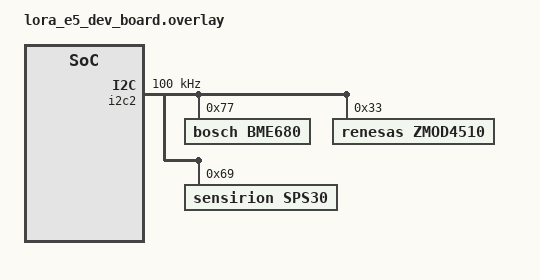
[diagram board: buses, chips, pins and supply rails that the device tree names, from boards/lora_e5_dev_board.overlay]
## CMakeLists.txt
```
# SPDX-License-Identifier: Apache-2.0

cmake_minimum_required(VERSION 3.20.0)

find_package(Zephyr REQUIRED HINTS $ENV{ZEPHYR_BASE})
project(aether)

FILE(GLOB app_sources src/main.c src/pm.c)
FILE(GLOB io_sources src/io/*.c)
target_sources(app PRIVATE ${app_sources})
target_sources_ifdef(CONFIG_SENSOR app PRIVATE src/pm_sensor_thread.c src/sensor_thread.c)
target_sources_ifdef(CONFIG_SHELL app PRIVATE src/usb.c)
target_sources_ifdef(CONFIG_LORAWAN app PRIVATE src/lora.c)

add_definitions(
  -DENABLE_ZMOD, 
  -DENABLE_BME,
  -DENABLE_PM,
  -DENABLE_USB,
  -DUSE_ABP
  -DBME_REAL_DATA
  -DZMOD_REAL_DATA
  -DSPS_REAL_DATA
  -DLORA_REAL_DATA
)
```

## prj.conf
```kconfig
# General
CONFIG_MAIN_STACK_SIZE=2048
CONFIG_SYSTEM_WORKQUEUE_STACK_SIZE=2048
CONFIG_NEWLIB_LIBC=y
CONFIG_NEWLIB_LIBC_FLOAT_PRINTF=y
CONFIG_CBPRINTF_FP_SUPPORT=y

# IO
CONFIG_I2C=y
CONFIG_SPI=y
CONFIG_GPIO=y

# Logging
CONFIG_STDOUT_CONSOLE=y
CONFIG_LOG=y
CONFIG_ARCH_LOG_LEVEL_DBG=n
CONFIG_KERNEL_LOG_LEVEL_DBG=n
CONFIG_SENSOR_LOG_LEVEL_DBG=y

# Lora
CONFIG_LORA=y
CONFIG_LORA_SX12XX=y
CONFIG_LORAWAN=y
CONFIG_LORAMAC_REGION_US915=y

# Sensors
CONFIG_SENSOR=y
CONFIG_SPS30=y
CONFIG_BME680=y
CONFIG_ZMOD4510=y

# Power Management
CONFIG_PM=y
CONFIG_PM_DEVICE=y


# Shell
CONFIG_PRINTK=y
CONFIG_SHELL=y
CONFIG_GPIO_SHELL=y
CONFIG_SHELL_THREAD_PRIORITY_OVERRIDE=y
CONFIG_SHELL_THREAD_PRIORITY=2
CONFIG_THREAD_STACK_INFO=y
CONFIG_KERNEL_SHELL=y
CONFIG_BOOT_BANNER=y
CONFIG_DEVICE_SHELL=y
CONFIG_POSIX_CLOCK=y
CONFIG_DATE_SHELL=y
CONFIG_STATS=y
CONFIG_STATS_SHELL=n
CONFIG_SENSOR_SHELL=n
CONFIG_CUSTOM_SENSOR_SHELL=y
CONFIG_HWINFO_SHELL=y

# Kernel
CONFIG_THREAD_ANALYZER=n
CONFIG_THREAD_NAME=n
CONFIG_THREAD_RUNTIME_STATS=n
CONFIG_THREAD_RUNTIME_STATS_USE_TIMING_FUNCTIONS=n
CONFIG_INIT_STACKS=n
CONFIG_THREAD_MONITOR=n
CONFIG_IDLE_STACK_SIZE=1024

# Debug
CONFIG_ASSERT=y
CONFIG_ASSERT_LEVEL=2
CONFIG_ASSERT_VERBOSE=y
CONFIG_ASSERT_ON_ERRORS=y
```

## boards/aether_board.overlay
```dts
&i2c2 {
	bme680: bme680@76 {
		compatible = "bosch,bme680";
		reg = <0x76>;
		label = "BME680";
        status="okay";
	};

	zmod4510: zmod4510@33 {
		compatible = "renesas,zmod4510";
		reg = <0x33>;
		label = "ZMOD4510";
        status="okay";
	};
};
```

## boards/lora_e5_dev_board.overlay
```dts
&i2c2 {
  clock-frequency = < 0x186a0 >;
  bme680: bme680@77 {
    compatible = "bosch,bme680";
    reg = <0x77>;
    label = "BME680";
    status="okay";
  };

  zmod4510: zmod4510@33 {
    compatible = "renesas,zmod4510";
    reg = <0x33>;
    label = "ZMOD4510";
    status="okay";
  };

  sps30: sps30@69 {
    compatible = "sensirion,sps30";
    reg = <0x69>;
    label = "SPS30";
    status="okay";
  };
};

/* vim: ft=dts */
```

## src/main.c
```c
/*
 * Aether Sensor Node Firmware
 *
 * Copyright (c) 2022 Ian Wallace <ian.wallace@knights.ucf.edu>
 *            Paul Wood <>
 *
 * SPDX-License-Identifier: Apache-2.0
 */

/* Zephyr Headers */
#include <device.h>
#include <drivers/sensor.h>
#include <drivers/sensor/zmod4510.h>
#include <kernel.h>
#include <logging/log.h>
#include <lorawan/lorawan.h>
#include <zephyr.h>
#include <cayenne.h>
#include <drivers/gpio.h>
#include <pm/pm.h>
#include <pm/device.h>
#include <pm/device_runtime.h>
#include <stdio.h>
#include <stdlib.h>
#include <stdint.h>
#include "pm.h"


LOG_MODULE_REGISTER(aether);


#define BME_STACK_SIZE    1024
#define ZMOD_STACK_SIZE   1024
#define SPS_STACK_SIZE     2048
#define LORA_STACK_SIZE   2048
#define USB_STACK_SIZE    1024

#define SENSOR_THREAD_STACK_SIZE 2048
#define PM_SENSOR_THREAD_STACK_SIZE 2048

#define SENSOR_PRIORITY 5
#define PM_SENSOR_PRIORITY 5

#define BME_PRIORITY    5
#define ZMOD_PRIORITY   5
#define SPS_PRIORITY     5
#define LORA_PRIORITY   5
#define USB_PRIORITY    5


// extern void zmod_entry_point(void *_msgq, void *arg2, void *arg3);
// extern void pm_sensor_thread(void *_msgq, void *arg2, void *arg3);
// extern void bme_entry_point(void *_msgq, void *arg2, void *arg3);
extern void lora_entry_point(void *_msgq, void *arg2, void *arg3);

extern void pm_sensor_thread(void*, void*, void*);
extern void sensor_thread(void*, void*, void*);

static struct gpio_dt_spec led = GPIO_DT_SPEC_GET(DT_ALIAS(led0), gpios);

#ifdef CONFIG_PM
#define USB_DETECT_DEBOUNCE K_MSEC(10)

static struct gpio_dt_spec usb_detect = GPIO_DT_SPEC_GET(DT_NODELABEL(usb_wakeup), gpios);
static struct gpio_callback usb_detect_cb_data;
static const struct device *pwr_5v_domain = DEVICE_DT_GET(DT_NODELABEL(pwr_5v_domain));
void usb_debounce_power_set(struct k_work *work);
void usb_debounce_timer_handler(struct k_timer *timer);

K_TIMER_DEFINE(usb_debounce_timer, usb_debounce_timer_handler, NULL);
K_WORK_DEFINE(usb_debounce_work, usb_debounce_power_set);
#endif /* CONFIG_PM */


K_THREAD_DEFINE(sensor_tid, SENSOR_THREAD_STACK_SIZE,
                sensor_thread, NULL, NULL, NULL,
                SENSOR_PRIORITY, 0, 1000);

K_THREAD_DEFINE(pm_sensor_tid, PM_SENSOR_THREAD_STACK_SIZE,
                pm_sensor_thread, NULL, NULL, NULL,
                PM_SENSOR_PRIORITY, 0, 1000);

#ifdef CONFIG_LORAWAN
K_THREAD_DEFINE(lora_tid, LORA_STACK_SIZE,
                lora_entry_point, NULL, NULL, NULL,
                LORA_PRIORITY, 0, 1000);
#endif /* CONFIG_LORAWAN */


int init_status_led() {
  int ret = gpio_pin_configure_dt(&led, GPIO_DISCONNECTED);
  if (ret) {
    LOG_ERR("Error %d: failed to configure pin %d\n", ret, led.pin);
    return -EINVAL;
  }
  return 0;
}

#ifdef CONFIG_PM
static int handler_count = 0;

void usb_debounce_timer_handler(struct k_timer *timer) {
  k_work_submit(&usb_debounce_work);
}

void usb_debounce_power_set(struct k_work *work) {
  if (gpio_pin_get_dt(&usb_detect)) {
    disable_sleep();
    printk("usb inserted %d\n", pm_constraint_get(PM_STATE_SUSPEND_TO_IDLE));
  }
  else {
    enable_sleep();
    printk("usb removed %d\n", pm_constraint_get(PM_STATE_SUSPEND_TO_IDLE));
  }
}

void usb_handler(const struct device *dev, struct gpio_callback *cb, uint32_t pins) {
  handler_count++;
  k_timer_start(&usb_debounce_timer, USB_DETECT_DEBOUNCE, K_NO_WAIT);
  printk("handler_count=%d\n", handler_count);
}

int init_usb_detect() {
  int ret;

  if (!pm_device_wakeup_enable((struct device *) usb_detect.port, true)) {
    LOG_ERR("Error: failed to enabled wakeup on %s pin %d\n",
        usb_detect.port->name,
        usb_detect.pin);
    return -EINVAL;
  }

  ret = gpio_pin_configure_dt(&usb_detect, GPIO_INPUT);
  if (ret) {
    LOG_ERR("Error %d: failed to configure pin %d\n", ret, usb_detect.pin);
    return -EINVAL;
  }

  ret = gpio_pin_interrupt_configure_dt(&usb_detect, GPIO_INT_EDGE_BOTH);
  if (ret) {
    LOG_ERR("Error %d: failed to configure interupt on %s pin %d\n", 
        ret, 
        usb_detect.port->name, 
        usb_detect.pin);
    return -EINVAL;
  }

  gpio_init_callback(&usb_detect_cb_data, usb_handler, BIT(usb_detect.pin));
  gpio_add_callback(usb_detect.port, &usb_detect_cb_data);

  gpio_port_value_t portb;
  if (gpio_port_get_raw(usb_detect.port, &portb)) {
    printk("unable to read portb\n");
    return -EINVAL;
  }
  LOG_INF("port=%x\n", portb);
#ifdef CONFIG_PM
  LOG_INF("usb_detect pin=%d\n", gpio_pin_get_dt(&usb_detect));
  if (gpio_pin_get_dt(&usb_detect)) {
    LOG_INF("disabling sleep %d\n", pm_constraint_get(PM_STATE_SUSPEND_TO_IDLE));
    disable_sleep();
  }
  else {
    printk("keeping sleep on\n");
  }
#endif /* CONFIG_PM */

  return 0;
}

#endif /* CONFIG_PM */


int pre_kernel2_init(const struct device *dev) {
  ARG_UNUSED(dev);
#ifdef CONFIG_PM
  disable_sleep();
#endif /* CONFIG_PM */

  return 0;
}

SYS_INIT(pre_kernel2_init, PRE_KERNEL_2, 0);

#define PWR_5V_DOMAIN DT_NODELABEL(pwr_5v_domain);


void main() 
{
  enable_sleep();
  LOG_INF("Entering main thread. Sleep enabled? %d", pm_constraint_get(PM_STATE_SUSPEND_TO_IDLE));

  // (ノಠ益ಠ)ノ彡┻━┻
  // It causes the I2C bus to lose arbitration??????????
  if (init_status_led()) {
    LOG_ERR("Unable to initialize status led");
    return;
  }
#ifdef CONFIG_PM
  if (init_usb_detect()) {
    LOG_ERR("Unable to initialize usb detect");
    return;
  }
#endif /* CONFIG_PM */


#ifdef CONFIG_THREAD_MONITOR
#ifdef CONFIG_LORAWAN
  k_thread_name_set(lora_tid, "lora");
#endif /* CONFIG_LORAWAN */
#endif /* CONFIG_THREAD_MONITOR */
}
```

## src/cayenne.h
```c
/*
 * Aether Sensor Node Firmware
 *
 * Copyright (c) 2022 Ian Wallace <ian.wallace@knights.ucf.edu>
 *					  Paul Wood <>
 *
 * SPDX-License-Identifier: Apache-2.0
 */

/* Cayenne channel ids */
#define CAYENNE_CHANNEL_BME     0
#define CAYENNE_CHANNEL_ZMOD    1
#define CAYENNE_CHANNEL_PM      2

/* Cayenne total packet size */
#define CAYENNE_TOTAL_SIZE_BME  40 /* 4 sensor values */
#define CAYENNE_TOTAL_SIZE_ZMOD 10 /* 1 sensor value + 2 bytes */
#define CAYENNE_TOTAL_SIZE_PM   0

/* Cayenne total packet size */
#define CAYENNE_TOTAL_SIZE_TEMP_ZEPHYR        10
#define CAYENNE_TOTAL_SIZE_PRESSURE_ZEPHYR    10
#define CAYENNE_TOTAL_SIZE_HUMIDITY_ZEPHYR    10
#define CAYENNE_TOTAL_SIZE_GAS_RES_ZEPHYR     10
#define CAYENNE_TOTAL_SIZE_FAST_AQI           4
#define CAYENNE_TOTAL_SIZE_AQI                4
#define CAYENNE_TOTAL_SIZE_O3_PPB             6

/* Cayenne data types */
#define CAYENNE_TYPE_TEMP_ZEPHYR        0
#define CAYENNE_TYPE_PRESSURE_ZEPHYR    1
#define CAYENNE_TYPE_HUMIDITY_ZEPHYR    2
#define CAYENNE_TYPE_GAS_RES_ZEPHYR     3
#define CAYENNE_TYPE_FAST_AQI           4
#define CAYENNE_TYPE_AQI                5
#define CAYENNE_TYPE_O3_PPB             6

/* Cayenne data type data lengths (bytes) */
#define CAYENNE_SIZE_TEMP_ZEPHYR        8
#define CAYENNE_SIZE_PRESSURE_ZEPHYR    8
#define CAYENNE_SIZE_HUMIDITY_ZEPHYR    8
#define CAYENNE_SIZE_GAS_RES_ZEPHYR     8
#define CAYENNE_SIZE_FAST_AQI           2
#define CAYENNE_SIZE_AQI                2
#define CAYENNE_SIZE_O3_PPB             4
```

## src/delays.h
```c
#define DELAY K_MSEC(10000)
#define SLEEP K_MSEC(50000)
#define FIFO_DELAY K_MSEC(10000)
```

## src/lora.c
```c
#include <stdint.h>
#include <kernel.h>
#include <device.h>
#include <lorawan/lorawan.h>
#include <logging/log.h>
#include <stdlib.h>
#include <zephyr.h>
#include <cayenne.h>
#include "lora.h"
#include "lora.h"

LOG_MODULE_DECLARE(aether);

// Biggest reading is with float => 2 + 4 = 6 => 8 byte alignment
K_MSGQ_DEFINE(lora_msgq, sizeof(struct reading), 24, 8);


#define LORAWAN_RETRY_DELAY 3000
#define LORAWAN_FAIL_RETRY_DELAY 1000
#define NUM_RETRIES 5
#define LORAWAN_DELAY       3000
#define MSGQ_GET_TIMEOUT    K_USEC(50)
#define GROUPING_TIMEOUT    K_MSEC(1)

uint8_t dr_max_size = 11;   

struct lorawan_join_config join_cfg;



#ifdef USE_ABP

void set_join_cfg(struct lorawan_join_config *config) {
  uint32_t dev_addr = LORAWAN_DEV_ADDR;
  uint8_t dev_eui[] = LORAWAN_DEV_EUI;
  uint8_t app_eui[] = LORAWAN_APP_EUI;
  uint8_t app_skey[] = LORAWAN_APP_SKEY;
  uint8_t nwk_skey[] = LORAWAN_NWK_SKEY;

  LOG_INF("Setting activation method to ABP");
  config->mode = LORAWAN_ACT_ABP;
  config->dev_eui = dev_eui;
  config->abp.dev_addr = dev_addr;
  config->abp.app_eui = app_eui;
  config->abp.app_skey = app_skey;
  config->abp.nwk_skey = nwk_skey;
}


#else

void set_join_cfg(struct lorawan_join_config *config) {
  uint8_t dev_eui[] = LORAWAN_APP_EUI;
  uint8_t join_eui[] = LORAWAN_JOIN_EUI;
  uint8_t app_key[] = LORAWAN_APP_KEY;

  LOG_INF("Setting activation method to OTAA");
  config->mode = LORAWAN_ACT_OTAA;
  config->dev_eui = dev_eui;
  config->otaa.join_eui = join_eui;
  config->otaa.app_key = app_key;
  config->otaa.nwk_key = app_key;
}

#endif /* USE_ABP */


#ifdef LORA_REAL_DATA

int send(const struct device *lora_dev, uint8_t *buffer, int buffer_len) {
  int ret;
  //LOG_INF("sending %d bytes", buffer_len);
  //LOG_HEXDUMP_INF(buffer, buffer_len, "Lora send buffer");

  for (int i = 0; i < NUM_RETRIES; i++) {
    ret = lorawan_send(2, buffer, buffer_len, LORAWAN_MSG_CONFIRMED);
    if (ret != 0) {
      LOG_WRN("lorawan_send failed: %d. Retrying %d/%d...\n", ret, i + 1, NUM_RETRIES);
      k_msleep(LORAWAN_RETRY_DELAY);
    }
    else {
      break;
    }
  }

  if (ret < 0) {
    LOG_ERR("lorawan_send failed: %d\n", ret);
    return -EINVAL;
  }

  return 0;
}

#else

int send(const struct device *lora_dev, uint8_t *buffer, int buffer_len) {
  //LOG_INF("sending %d bytes", buffer_len);
  //LOG_HEXDUMP_INF(buffer, buffer_len, "Lora send buffer");
  return 0;
}

#endif /* LORA_REAL_DATA */


void dl_callback(uint8_t port, bool data_pending,
      int16_t rssi, int8_t snr,
      uint8_t len, const uint8_t *data)
{
  LOG_DBG("Port %d, Pending %d, RSSI %ddB, SNR %ddBm",
      port, data_pending, rssi, snr);

  if (data) {
    LOG_HEXDUMP_DBG(data, len, "Payload: ");
  }
}


void lorwan_datarate_changed(enum lorawan_datarate dr)
{
  uint8_t unused, max_size;

  lorawan_get_payload_sizes(&unused, &max_size);

  dr_max_size = max_size;
  LOG_DBG("New Datarate: DR_%d, Max Payload %d", dr, max_size);
}

struct lorawan_downlink_cb downlink_cb = {
  .port = LW_RECV_PORT_ANY,
  .cb = dl_callback
};


void lora_entry_point(void *arg1, void *arg2, void *arg3) {
  const struct device *lora_dev;
  // struct lorawan_join_config join_cfg;
  int ret = 0;

  // Lowest DR 
  //TODO: change based on DR
  uint8_t buffer[256];

  lora_dev = device_get_binding(DEFAULT_RADIO);
  if (!lora_dev) {
    printk("%s Device not found\n", DEFAULT_RADIO);
    return;
  }

  ret = lorawan_start();
  if (ret < 0) {
    printk("lorawan_start failed: %d\n", ret);
    return;
  }

  lorawan_register_downlink_callback(&downlink_cb);
  lorawan_register_dr_changed_callback(lorwan_datarate_changed);
  lorawan_enable_adr(true);
  lorawan_set_conf_msg_tries(10);
  lorawan_set_datarate(LORAWAN_DR_3);

  // join_cfg.mode = LORAWAN_ACT_ABP;
  uint32_t dev_addr = LORAWAN_DEV_ADDR;
  uint8_t dev_eui[] = LORAWAN_DEV_EUI;
  uint8_t app_eui[] = LORAWAN_APP_EUI;
  uint8_t app_skey[] = LORAWAN_APP_SKEY;
  uint8_t nwk_skey[] = LORAWAN_NWK_SKEY;
  join_cfg.mode = LORAWAN_ACT_ABP;
  join_cfg.dev_eui = dev_eui;
  join_cfg.abp.dev_addr = dev_addr;
  join_cfg.abp.app_eui = app_eui;
  join_cfg.abp.app_skey = app_skey;
  join_cfg.abp.nwk_skey = nwk_skey;

  LOG_INF("Joining lorawan network");
  ret = lorawan_join(&join_cfg);
  if (ret < 0) {
    LOG_ERR("lorawan_join_network failed: %d", ret);
    return;
  }

  // Main loop
  struct reading reading;  //unused?
  int reading_size; //unused?
  uint8_t num_bytes = 0;
  uint8_t msgs_left = 0; // unused?
  while (1) {
    num_bytes = 0;

    // Send more until the queue is empty, else wait
    if (k_msgq_num_used_get(&lora_msgq) == 0) {
      ret = k_msgq_get(&lora_msgq, (void *) &reading, K_FOREVER);
      num_bytes += cayenne_packetize(buffer, &reading);

      // Sleep to try to get readings that might've been sent around the same time to group them
      // together.
      k_msleep(1000);
    }

    while (num_bytes < dr_max_size && k_msgq_num_used_get(&lora_msgq) > 0) {
      k_msgq_peek(&lora_msgq, (void *) &reading);

      if (num_bytes + get_reading_size(&reading) <= dr_max_size) {
        k_msgq_get(&lora_msgq, (void *) &reading, K_NO_WAIT);
        num_bytes += cayenne_packetize(buffer + num_bytes, &reading);
      }
      else {
        break;
      }
    }

    ret = send(lora_dev, buffer, num_bytes);
    LOG_INF("msgq used=%d", k_msgq_num_used_get(&lora_msgq));
  }
}

int lorawan_schedule(struct reading *reading) {
  return k_msgq_put(&lora_msgq, (void *) reading, K_NO_WAIT); 
}
```

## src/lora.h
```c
#ifndef __LORAWAN_ENTRY_H__
#define __LORAWAN_ENTRY_H__

#include <kernel.h>
#include <cayenne.h>

/******************** LoRaWAN Configuration Parameters ************************/
/* Enable or disable LoRaWAN for testing purposes */
#define ENABLE_LORAWAN

/* Switch between using ABP or OTAA parameters */
#define USE_ABP

#define DEFAULT_RADIO_NODE DT_ALIAS(lora0)
BUILD_ASSERT(DT_NODE_HAS_STATUS(DEFAULT_RADIO_NODE, okay),
	     "No default LoRa radio specified in DT");
#define DEFAULT_RADIO DT_LABEL(DEFAULT_RADIO_NODE)


#ifndef USE_ABP
/* OTAA Parameters */
#define LORAWAN_APP_EUI			{ 0x2C, 0xF7, 0xF1, 0x20, 0x32, 0x30,\
					  0x4D, 0xE8 }
#define LORAWAN_JOIN_EUI		{ 0x80, 0x00, 0x00, 0x00, 0x00, 0x00,\
					  0x00, 0x06 }
#define LORAWAN_APP_KEY			{ 0xB4, 0x4E, 0x83, 0x6D, 0x99, 0x06,\
					  0x79, 0xC8, 0x78, 0x03, 0x1A, 0x32,\
					  0x60, 0x51, 0x11, 0xC8 }

#else

/* ABP Parameters */
#define LORAWAN_DEV_ADDR 0x260CFF4F;
#define LORAWAN_JOIN_EUI		{ 0x80, 0x00, 0x00, 0x00, 0x00, 0x00,\
					  0x00, 0x06 }
#define LORAWAN_DEV_EUI			{ 0x2C, 0xF7, 0xF1, 0x20, 0x32, 0x30,\
					  0x4D, 0xE8}					  
#define LORAWAN_APP_EUI			{ 0x00, 0x00, 0x00, 0x00, 0x00, 0x00,\
					  0x00, 0x00}
#define LORAWAN_APP_SKEY		{ 0x88, 0x03, 0x0F, 0x9D, 0x09, 0x0D,\
					  0x09, 0xC0, 0x44, 0x63, 0x20, 0x4F, 0xC0, 0xE8,\
					  0x2C, 0xF5}
#define LORAWAN_NWK_SKEY		{ 0x06, 0xB1, 0x13, 0xEE, 0x65, 0x09,\
					  0xAA, 0xFB, 0x91, 0x75, 0xC2, 0x6E, 0xF2, 0x67,\
					  0x91, 0x92}
#endif

int lorawan_schedule(struct reading *reading);

#endif /* __LORAWAN_ENTRY_H__ */
```

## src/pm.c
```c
#include <pm/pm.h>

// pm_constraint_get confusingly checks if the power state is enabled, not if there's a constrain on
// the power state.
void disable_sleep() {
  pm_constraint_set(PM_STATE_SUSPEND_TO_IDLE);
  // pm_constraint_set(PM_STATE_SOFT_OFF);
}

void enable_sleep() {
  pm_constraint_release(PM_STATE_SUSPEND_TO_IDLE);
  // pm_constraint_release(PM_STATE_SOFT_OFF);
}
```

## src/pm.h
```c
#ifndef __PM_H__
#define __PM_H__

void enable_sleep();
void disable_sleep();

#endif /* __PM_H__ */
```

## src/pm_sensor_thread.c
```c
#include <kernel.h>
#include <device.h>
#include <drivers/sensor.h>
#include <logging/log.h>
#include <zephyr.h>
#include <stdlib.h>
#include <cayenne.h>
#include <pm/device.h>
#include <pm/device_runtime.h>
#include <drivers/gpio.h>
#include "pm.h"
#include "lora.h"
#include <drivers/sensor/sps30.h>

LOG_MODULE_REGISTER(pm_sensor_thread, CONFIG_LOG_DEFAULT_LEVEL);

// #define SPS_SLEEP 900000
#define SPS_SLEEP (60000 * 15)
#define NUM_READINGS 10
#define SPS_READING_DELAY_MS 5000
#define NUM_SKIP_READINGS 10

// #define PWR_5V_DOMAIN DT_NODELABEL(pwr_5v_domain)

// static const struct device *pwr_5v_domain = DEVICE_DT_GET(DT_NODELABEL(pwr_5v_domain));
const struct device *dev_sps = DEVICE_DT_GET(DT_NODELABEL(sps30));

void pm_sensor_thread(void *arg1, void *arg2, void *arg3) {
  struct sensor_value pm1p0, pm2p5, pm10p0;
  struct reading reading;
  float pm2_5_sum = 0, pm10_sum = 0;
  enum pm_device_state state;
  int ret, fail_count = 0;

  //pm_device_runtime_enable(dev_sps);
  //pm_device_runtime_enable(pwr_5v_domain);

  //pm_device_state_get(pwr_5v_domain, &state);
  LOG_WRN("domain: %d", state);
  // if (!device_is_ready(dev_sps)) {
  //   LOG_ERR("SPS30 is not ready!\n" );
  //   return;
  // }

  static struct gpio_dt_spec sps_gpio_power = GPIO_DT_SPEC_GET(DT_NODELABEL(sps_power_pins), gpios);

  /* Configure SPS30 GPIO pin */
  ret = gpio_pin_configure_dt(&sps_gpio_power, GPIO_OUTPUT);
  if (ret) {
    LOG_ERR("Error %d: failed to configure pin %d\n", ret, sps_gpio_power.pin);
    return -EINVAL;
  }

  while (1) {
    disable_sleep();

  /* Enable SPS30 GPIO pin */
    ret = gpio_pin_set_dt(&sps_gpio_power, 1);
    if (ret) {
      LOG_ERR("Error %d: failed to set pin %d\n", ret, sps_gpio_power.pin);
    }
    else {
      sps30_init(dev_sps);

      /* Allow time for device to warm up */
      k_msleep(30000);

      pm2_5_sum = 0, pm10_sum = 0;
      fail_count = 0;

      for (int i = 0; i < NUM_READINGS + NUM_SKIP_READINGS; i++) {
        ret = sensor_sample_fetch(dev_sps);
        if (i < NUM_SKIP_READINGS) {
          k_msleep(SPS_READING_DELAY_MS);
          continue;
        }

        if (ret != 0) {
          continue;
          fail_count++;
        }
        sensor_channel_get(dev_sps, SENSOR_CHAN_PM_2_5, &pm2p5);
        sensor_channel_get(dev_sps, SENSOR_CHAN_PM_10, &pm10p0);
        LOG_INF("Unaveraged PM2.5 %f", sensor_value_to_double(&pm2p5));
        LOG_INF("Unaveraged PM10 %f", sensor_value_to_double(&pm10p0));

        pm2_5_sum += (float) sensor_value_to_double(&pm2p5);
        pm10_sum += (float) sensor_value_to_double(&pm10p0);

        k_msleep(SPS_READING_DELAY_MS);
      }

      if (fail_count < NUM_READINGS) {
        reading.chan = CAYENNE_CHANNEL_SPS;

        reading.type = CAYENNE_TYPE_PM_2_5;
        reading.val.f = pm2_5_sum / (NUM_READINGS - fail_count);
        LOG_DBG("PM 2p5=%f", reading.val.f);
        LOG_INF("PM 2.5 = %.03f um", reading.val.f);
        lorawan_schedule(&reading);

        reading.type = CAYENNE_TYPE_PM_10;
        reading.val.f = pm10_sum / (NUM_READINGS - fail_count);
        LOG_DBG("PM 10p0=%f", reading.val.f);
        LOG_INF("PM 10 = %.03f um", reading.val.f);
        lorawan_schedule(&reading);
      }

    }

    gpio_pin_set_dt(&sps_gpio_power, 0);
    enable_sleep();
    k_msleep(SPS_SLEEP);
  }
}
```

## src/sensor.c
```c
#include <kernel.h>
#include <drivers/sensor.h>
#include <stdint.h>

int avg_float_sensor_readings(float *avg, const struct device *dev, int channel, int num, k_timeout_t delay) {
  struct sensor_value sv;
  float sum = 0;
  int ret = 0;

  for (int i = 0; i < num; i++) {
    ret = sensor_sample_fetch(dev);
    if (ret) return ret;

    ret = sensor_channel_get(dev, channel, &sv);
    if (ret) return ret;

    sum += (float) sensor_value_to_double(&sv);

    if (!K_TIMEOUT_EQ(K_NO_WAIT, delay)) {
      k_sleep(delay);
    }
  }

  *avg = sum / num;
}

int avg_u16_sensor_readings(uint16_t *avg, const struct device *dev, int channel, int num, k_timeout_t delay) {
  struct sensor_value sv;
  uint16_t sum = 0;
  int ret = 0;

  for (int i = 0; i < num; i++) {
    ret = sensor_sample_fetch(dev);
    if (ret) return ret;

    ret = sensor_channel_get(dev, channel, &sv);
    if (ret) return ret;

    sum += sv.val1;

    if (!K_TIMEOUT_EQ(K_NO_WAIT, delay)) {
      k_sleep(delay);
    }
  }

  *avg = sum / num;
}
```

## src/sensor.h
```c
#ifndef __SENSOR_APP_H__
#define __SENSOR_APP_H__

#include <kernel.h>
#include <drivers/sensor.h>
#include <stdint.h>

int avg_float_sensor_readings(float *avg, const struct device *dev, int channel, int num, k_timeout_t delay);
int avg_u16_sensor_readings(uint16_t *avg, const struct device *dev, int channel, int num, k_timeout_t delay);
int avg_int_sensor_readings(uint16_t *avg, const struct device *dev, int channel, int num, k_timeout_t delay);

#endif /* __SENSOR_APP_H__ */
```

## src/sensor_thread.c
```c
#include <kernel.h>
#include <device.h>
#include <drivers/sensor.h>
#include <logging/log.h>
#include <zephyr.h>
#include <stdlib.h>
#include <cayenne.h>
#include <pm/device.h>
#include <pm/device_runtime.h>
#include <drivers/gpio.h>
#include "pm.h"
#include <drivers/sensor/zmod4510.h>
#include "lora.h"
#include "pm.h"

void zmod_sample(struct k_work *work);
void zmod_submit_sample(struct k_timer *timer);

LOG_MODULE_REGISTER(sensor_thread, CONFIG_LOG_DEFAULT_LEVEL);

K_TIMER_DEFINE(zmod_sampling_timer, zmod_submit_sample, NULL);
K_WORK_DEFINE(zmod_sample_work, zmod_sample);

#define ZMOD_SAMPLING_DURATION_MS 30000
#define ZMOD_SAMPLING_DELAY_MS 1980
#define IGNORE_ZMOD_STABILIZATION true
// #define SLEEP_MS 900000
#define SLEEP_MS (60000 * 15)

const struct device *dev_zmod = DEVICE_DT_GET(DT_NODELABEL(zmod4510));
const struct device *dev_bme = DEVICE_DT_GET(DT_NODELABEL(bme680));

void sensor_thread(void *arg1, void *arg2, void *arg3) {
  int ret;
  struct sensor_value temp_degc_sv, press_pa_sv, humidity_pct_sv, 
                      gas_res_ohm_sv, o3_ppb_sv, no2_ppb_sv, aqi_sv, fast_aqi_sv;
  float temp_degc = 20, humidity_pct = 50;
  struct reading rd;

  if (!device_is_ready(dev_zmod)) {
    LOG_ERR("ZMOD4510 is not ready!");
    return;
  }

  if (!device_is_ready(dev_bme)) {
    LOG_ERR("BME688 is not ready!");
    return;
  }

  while (true) {
    disable_sleep();

    rd.chan = CAYENNE_CHANNEL_BME;
    ret = sensor_sample_fetch(dev_bme);
    if (ret) {
      LOG_ERR("Unable to fetch BME688 readings");
    }
    else {

      ret = sensor_channel_get(dev_bme, SENSOR_CHAN_AMBIENT_TEMP, &temp_degc_sv);
      if (ret == 0) {
        rd.type = CAYENNE_TYPE_TEMP;
        rd.val.f = sensor_value_to_double(&temp_degc_sv);
        temp_degc = rd.val.f;
        LOG_INF("TEMPERATURE (degC) = %f", rd.val.f);
        lorawan_schedule(&rd);
      }

      ret = sensor_channel_get(dev_bme, SENSOR_CHAN_PRESS, &press_pa_sv);
      if (ret == 0) {
        rd.type = CAYENNE_TYPE_PRESSURE;
        rd.val.f = sensor_value_to_double(&press_pa_sv);
        LOG_INF("PRESSURE (kPa) = %f", rd.val.f);
        lorawan_schedule(&rd);
      }

      ret = sensor_channel_get(dev_bme, SENSOR_CHAN_HUMIDITY, &humidity_pct_sv);
      if (ret == 0) {
        rd.type = CAYENNE_TYPE_HUMIDITY;
        rd.val.f = sensor_value_to_double(&humidity_pct_sv);
        humidity_pct = rd.val.f;
        LOG_INF("HUMIDITY (%) = %f", rd.val.f);
        lorawan_schedule(&rd);
      }

      ret = sensor_channel_get(dev_bme, SENSOR_CHAN_GAS_RES, &gas_res_ohm_sv);
      if (ret == 0) {
        rd.type = CAYENNE_TYPE_GAS_RES;
        rd.val.f = sensor_value_to_double(&gas_res_ohm_sv);
        LOG_INF("GAS RES (Ohm) = %f", rd.val.f);
        lorawan_schedule(&rd);
      }
    }

    rd.chan = CAYENNE_CHANNEL_ZMOD;
    LOG_INF("Starting zmod4510 sampling timer");
    k_timer_start(&zmod_sampling_timer, K_NO_WAIT, K_MSEC(ZMOD_SAMPLING_DELAY_MS));
    k_msleep(ZMOD_SAMPLING_DURATION_MS);
    k_timer_stop(&zmod_sampling_timer);
    LOG_INF("Finished zmod4510 sampling");

    // Use previous values from bme if bme fails for whaever reason.
    ret = calc_oaq(dev_zmod, humidity_pct, temp_degc);
    if (ret == -EINPROGRESS && !IGNORE_ZMOD_STABILIZATION) {
      LOG_WRN("zmod4510 still stabilizing");
    }
    else if (ret != 0 && ret != -EINPROGRESS) {
      LOG_ERR("zmod4510 oaq algo error! %d", ret);
    }
    else {
      if (ret == -EINPROGRESS)
        LOG_WRN("zmod4510 still stabilizing. Skipping...");
      ret = sensor_channel_get(dev_zmod, (enum sensor_channel) ZMOD4510_SENSOR_CHAN_O3, &o3_ppb_sv);
      if (ret == 0) {
        rd.type = CAYENNE_TYPE_O3;
        rd.val.f = sensor_value_to_double(&o3_ppb_sv) / 1000;
        LOG_INF("O3 (ppm) = %f", rd.val.f);
        lorawan_schedule(&rd);
      }
      // sensor_channel_get(dev_zmod, (enum sensor_channel) ZMOD4510_SENSOR_CHAN_NO2, &no2_ppb_sv);

      ret = sensor_channel_get(dev_zmod, ZMOD4510_SENSOR_CHAN_AQI, &aqi_sv);
      if (ret == 0) {
        rd.type = CAYENNE_TYPE_AQI;
        rd.val.u16 = sensor_value_to_double(&aqi_sv);
        LOG_INF("ZMOD AQI (Index 0-500) = %d", rd.val.u16);
        lorawan_schedule(&rd);
      }
    }

    enable_sleep();
    k_msleep(SLEEP_MS);
  }
}

void zmod_sample(struct k_work *work) {
  sensor_sample_fetch(dev_zmod);
}

void zmod_submit_sample(struct k_timer *timer) {
  k_work_submit(&zmod_sample_work);
}
```

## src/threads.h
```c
/*************************** Thread Definitions *******************************/

#define NORMAL_PRIORITY		5
#define HIGH_PRIORITY		3
```

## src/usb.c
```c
#include <ctype.h>
#include <stdlib.h>
#include <string.h>
#include <shell/shell.h>
#include <lorawan/lorawan.h>
#include "pm.h"

/* Parameters lengths in bytes */
#define OTAA_APP_EUI_LEN  8
#define OTAA_JOIN_EUI_LEN 8
#define OTAA_APP_KEY_LEN  16
#define ABP_DEV_ADDR_LEN  4
#define ABP_DEV_EUI_LEN   8
#define ABP_APP_EUI_LEN   8
#define ABP_APP_SKEY_LEN  16
#define ABP_NWK_SKEY_LEN  16

#define OTAA_APP_EUI  1
#define OTAA_JOIN_EUI 2
#define OTAA_APP_KEY  3
#define ABP_DEV_ADDR  4
#define ABP_DEV_EUI   5
#define ABP_APP_EUI   6
#define ABP_APP_SKEY  7
#define ABP_NWK_SKEY  8

// USB disables sleep (+1 ref count), threads disable sleep (+1 each)
// Make sure the USB +1 ref count is the only one negated (-1)
// It's assumed that if you're running this that USB is plugged in (so +1 to ref count)
static bool sleep_disabled = true;

extern struct lorawan_join_config join_cfg;

void shell_print_hex(const struct shell *shell, unsigned char *buf, int len)
{
    for (int i = 0; i < len; i++) {
        shell_print(shell, "%x%x", buf[i] / 16, buf[i] & 15);
    }
}

/* Converts a hex string to an unsigned char array */
unsigned char *hexstr_to_char(const char *hexstr, size_t len)
{
    if (len % 2 != 0)
        return NULL;

    size_t final_len = len / 2;
    unsigned char *chrs = (unsigned char *) malloc((final_len+1) * sizeof(*chrs));

    for (size_t i = 0, j = 0; j < final_len; i += 2, j++)
        chrs[j] = (hexstr[i] % 32 + 9) % 25 * 16 + (hexstr[i+1] % 32 + 9) % 25;

    chrs[final_len] = '\0';

    return chrs;
}

uint32_t uint8t_arr_to_uint32t(uint8_t *arr) {
    uint32_t out, temp;

    int i;
    printf("\ndevaddr:");
    for (i = 0; i < 4; i++)
        printf("%02x", arr[i]);
    printf("\n");

    out = (uint32_t) ((uint8_t)(arr[0]) << 24 |
                (uint8_t)(arr[1]) << 16 |
                (uint8_t)(arr[2]) << 8 |
                (uint8_t)(arr[3]));

    return out;
}

/* Determines if input string meets requirement for given LoRaWAN parameter */
int validate_input(const struct shell *shell, unsigned char *buf, int len, int req_len)
{
    int i;

    if (len % 2 != 0) {
        shell_error(shell, "String must be an even length.");
        return -EINVAL;
    }

    if (len/2 != req_len) {
        shell_error(shell, "DevEUI must be %d bytes long. Provided string is %d bytes.", req_len, len/2);
        return -EINVAL;
    }

    for (i = 0; i < len; i++) {
        if (!isxdigit(buf[i])) {
            shell_error(shell, "Value can only contain digits 0-9 and a-f.");
            return -EINVAL;
        }
    }
            
    return 1;
}

int config_lorawan_param(const struct shell *shell, unsigned char *str, 
                            int req_len, int param_type)
{
    int len;
    uint8_t *new_conf;
    uint8_t *prev_conf;
    uint32_t new_dev_addr;
    uint32_t prev_dev_addr;

    len = strlen(str);

    if (validate_input(shell, str, len, req_len) == -EINVAL) {
        return -EINVAL;
    }

    if (param_type == ABP_DEV_ADDR) {
        new_conf = hexstr_to_char(str, (size_t) len);
        new_dev_addr = uint8t_arr_to_uint32t(new_conf);
    } else {
        new_conf = hexstr_to_char(str, (size_t) len);
    }

    if (new_conf == NULL) {
        shell_error(shell, "Value must have an even number of hex digits.");
        return -EINVAL;
    }
        

    switch (param_type) {
        case OTAA_APP_EUI: 
            break;
        case OTAA_JOIN_EUI: 
            break;
        case OTAA_APP_KEY: 
            break;
        case ABP_DEV_ADDR:
            prev_dev_addr = join_cfg.abp.dev_addr;
            join_cfg.abp.dev_addr = new_dev_addr;
            break;
        case ABP_DEV_EUI:
            prev_conf = join_cfg.dev_eui;
            join_cfg.dev_eui = new_conf;
            break;
        case ABP_APP_EUI:
            prev_conf = join_cfg.abp.app_eui;
            join_cfg.abp.app_eui = new_conf;
            break;
        case ABP_APP_SKEY:
            prev_conf = join_cfg.abp.app_skey;
            join_cfg.abp.app_skey = new_conf;
            break;
        case ABP_NWK_SKEY:
            prev_conf = join_cfg.abp.nwk_skey;
            join_cfg.abp.nwk_skey = new_conf;
            break;
        default:
            break;
    }

    if (req_len == 8) {
        shell_print(shell, "prev: %02x:%02x:%02x:%02x:%02x:%02x:%02x:%02x", 
                    prev_conf[0], prev_conf[1], prev_conf[2], prev_conf[3],
                    prev_conf[4], prev_conf[5], prev_conf[6], prev_conf[7]);

        shell_print(shell, "next: %02x:%02x:%02x:%02x:%02x:%02x:%02x:%02x", 
                    new_conf[0], new_conf[1], new_conf[2], new_conf[3],
                    new_conf[4], new_conf[5], new_conf[6], new_conf[7]);
    } else if (req_len == 16) {
        shell_print(shell, "prev: %02x:%02x:%02x:%02x:%02x:%02x:%02x:%02x:%02x:%02x:%02x:%02x:%02x:%02x:%02x:%02x", 
                    prev_conf[0], prev_conf[1], prev_conf[2], prev_conf[3],
                    prev_conf[4], prev_conf[5], prev_conf[6], prev_conf[7],
                    prev_conf[8], prev_conf[9], prev_conf[10], prev_conf[11],
                    prev_conf[12], prev_conf[13], prev_conf[14], prev_conf[15]);

        shell_print(shell, "next: %02x:%02x:%02x:%02x:%02x:%02x:%02x:%02x:%02x:%02x:%02x:%02x:%02x:%02x:%02x:%02x", 
                    new_conf[0], new_conf[1], new_conf[2], new_conf[3],
                    new_conf[4], new_conf[5], new_conf[6], new_conf[7],
                    new_conf[8], new_conf[9], new_conf[10], new_conf[11],
                    new_conf[12], new_conf[13], new_conf[14], new_conf[15]);

    } else if (req_len == 4) {
        
        shell_print(shell, "prev: %08x", prev_dev_addr);
        shell_print(shell, "next: %08x", new_dev_addr);
    }

    free(new_conf);

    return 0;
}

/* OTAA Handlers */
static int otaa_app_eui(const struct shell *shell, size_t argc, char **argv)
{
    return config_lorawan_param(shell, argv[1], OTAA_APP_EUI_LEN, OTAA_APP_EUI);
}

static int otaa_join_eui(const struct shell *shell, size_t argc, char **argv)
{
    return config_lorawan_param(shell, argv[1], OTAA_JOIN_EUI_LEN, OTAA_JOIN_EUI);
}

static int otaa_app_key(const struct shell *shell, size_t argc, char **argv)
{
    return config_lorawan_param(shell, argv[1], OTAA_APP_KEY_LEN, OTAA_APP_KEY);
}

/* ABP Handlers */
static int abp_dev_addr(const struct shell *shell, size_t argc, char **argv)
{
    return config_lorawan_param(shell, argv[1], ABP_DEV_ADDR_LEN, ABP_DEV_ADDR);
}

static int abp_dev_eui(const struct shell *shell, size_t argc, char **argv)
{
    return config_lorawan_param(shell, argv[1], ABP_DEV_EUI_LEN, ABP_DEV_EUI);
}

static int abp_app_eui(const struct shell *shell, size_t argc, char **argv)
{
    return config_lorawan_param(shell, argv[1], ABP_APP_EUI_LEN, ABP_APP_EUI);
}

static int abp_app_skey(const struct shell *shell, size_t argc, char **argv)
{
    return config_lorawan_param(shell, argv[1], ABP_APP_SKEY_LEN, ABP_APP_SKEY);
}

static int abp_nwk_skey(const struct shell *shell, size_t argc, char **argv)
{
    return config_lorawan_param(shell, argv[1], ABP_NWK_SKEY_LEN, ABP_NWK_SKEY);
}

static int enable_sleep_cmd(const struct shell *shell, size_t argc, char **argv)
{
  if (!sleep_disabled) {
    shell_error(shell, "Sleep has already been enabled");
    return -EINVAL;
  }
  
  enable_sleep();
  sleep_disabled = false;
  return 0;
}

static int disable_sleep_cmd(const struct shell *shell, size_t argc, char **argv)
{
  if (sleep_disabled) {
    shell_error(shell, "Sleep has already been disabled");
    return -EINVAL;
  }

  disable_sleep();
  sleep_disabled = true;
  return 0;
}


/* OTAA sub commands */
SHELL_STATIC_SUBCMD_SET_CREATE(sub_otaa,
    SHELL_CMD_ARG(app_eui,  NULL, "Configure AppEUI.",  otaa_app_eui,  2, 0),
    SHELL_CMD_ARG(join_eui, NULL, "Configure JoinEUI.", otaa_join_eui, 2, 0),
    SHELL_CMD_ARG(app_key,  NULL, "Configure AppKey.",  otaa_app_key,  2, 0),
    SHELL_SUBCMD_SET_END
);

/* ABP sub commands */
SHELL_STATIC_SUBCMD_SET_CREATE(sub_abp,
    SHELL_CMD_ARG(dev_addr, NULL, "Configure DevAddr.", abp_dev_addr, 2, 0),
    SHELL_CMD_ARG(dev_eui,  NULL, "Configure DevEUI.",  abp_dev_eui,  2, 0),
    SHELL_CMD_ARG(app_eui,  NULL, "Configure AppEUI.",  abp_app_eui,  2, 0),
    SHELL_CMD_ARG(app_skey, NULL, "Configure AppSKey.", abp_app_skey, 2, 0),
    SHELL_CMD_ARG(nwk_skey, NULL, "Configure NwkSkey.", abp_nwk_skey, 2, 0),
    SHELL_SUBCMD_SET_END
);

SHELL_STATIC_SUBCMD_SET_CREATE(sub_lorawan_config,
    SHELL_CMD(abp,   &sub_abp, "Configure ABP parameters.", NULL),
    SHELL_CMD(otaa,   &sub_otaa, "Configure OTAA parameters.", NULL),
    SHELL_SUBCMD_SET_END
);

SHELL_CMD_REGISTER(lorawan_config, &sub_lorawan_config, 
                   "Configure the LoRaWAN parameters", NULL);

SHELL_STATIC_SUBCMD_SET_CREATE(sub_power_sleep,
    SHELL_CMD_ARG(enable, NULL, "Enable sleep", enable_sleep_cmd, 0, 0),
    SHELL_CMD_ARG(disable,  NULL, "Disable sleep",  disable_sleep_cmd,  0, 0),
    SHELL_SUBCMD_SET_END
);


SHELL_STATIC_SUBCMD_SET_CREATE(sub_power,
    SHELL_CMD(sleep,   &sub_power_sleep, "Configure sleep parameters", NULL),
    SHELL_SUBCMD_SET_END
);

SHELL_CMD_REGISTER(power, &sub_power, 
                   "Configure and view power management configuration", NULL);
```
